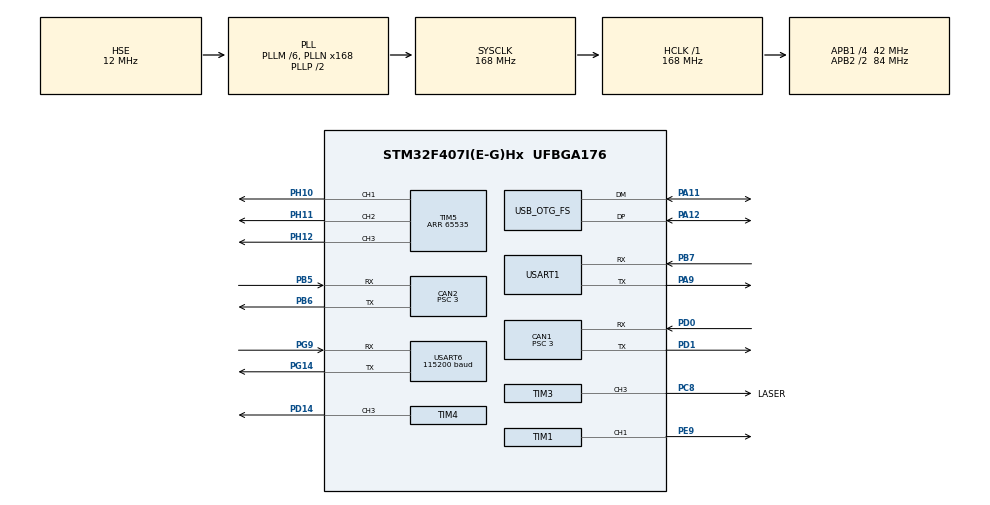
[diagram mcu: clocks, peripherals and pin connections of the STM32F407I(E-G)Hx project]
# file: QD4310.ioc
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CAN1.BS1=CAN_BS1_7TQ
CAN1.BS2=CAN_BS2_6TQ
CAN1.CalculateBaudRate=1000000
CAN1.CalculateTimeBit=1000
CAN1.CalculateTimeQuantum=71.42857142857143
CAN1.Prescaler=3
CAN1.SJW=CAN_SJW_2TQ
CAN2.BS1=CAN_BS1_7TQ
CAN2.BS2=CAN_BS2_6TQ
CAN2.CalculateBaudRate=1000000
CAN2.CalculateTimeBit=1000
CAN2.CalculateTimeQuantum=71.42857142857143
CAN2.Prescaler=3
CAN2.SJW=CAN_SJW_2TQ
Dma.Request0=USART6_RX
Dma.Request1=USART6_TX
Dma.Request2=USART1_RX
Dma.USART1_RX.2.Direction=DMA_PERIPH_TO_MEMORY
Dma.USART1_RX.2.FIFOMode=DMA_FIFOMODE_DISABLE
Dma.USART1_RX.2.Instance=DMA2_Stream2
Dma.USART1_RX.2.MemDataAlignment=DMA_MDATAALIGN_BYTE
Dma.USART1_RX.2.MemInc=DMA_MINC_ENABLE
Dma.USART1_RX.2.Mode=DMA_NORMAL
Dma.USART1_RX.2.PeriphDataAlignment=DMA_PDATAALIGN_BYTE
Dma.USART1_RX.2.PeriphInc=DMA_PINC_DISABLE
Dma.USART1_RX.2.Priority=DMA_PRIORITY_HIGH
Dma.USART6_RX.0.Direction=DMA_PERIPH_TO_MEMORY
Dma.USART6_RX.0.FIFOMode=DMA_FIFOMODE_DISABLE
Dma.USART6_RX.0.Instance=DMA2_Stream1
Dma.USART6_RX.0.MemDataAlignment=DMA_MDATAALIGN_BYTE
Dma.USART6_RX.0.MemInc=DMA_MINC_ENABLE
Dma.USART6_RX.0.Mode=DMA_CIRCULAR
Dma.USART6_RX.0.PeriphDataAlignment=DMA_PDATAALIGN_BYTE
Dma.USART6_RX.0.PeriphInc=DMA_PINC_DISABLE
Dma.USART6_RX.0.Priority=DMA_PRIORITY_VERY_HIGH
Dma.USART6_TX.1.Direction=DMA_MEMORY_TO_PERIPH
Dma.USART6_TX.1.FIFOMode=DMA_FIFOMODE_DISABLE
Dma.USART6_TX.1.Instance=DMA2_Stream6
Dma.USART6_TX.1.MemDataAlignment=DMA_MDATAALIGN_BYTE
Dma.USART6_TX.1.MemInc=DMA_MINC_ENABLE
Dma.USART6_TX.1.Mode=DMA_CIRCULAR
Dma.USART6_TX.1.PeriphDataAlignment=DMA_PDATAALIGN_BYTE
Dma.USART6_TX.1.PeriphInc=DMA_PINC_DISABLE
Dma.USART6_TX.1.Priority=DMA_PRIORITY_MEDIUM
Mcu.Family=STM32F4
Mcu.Name=STM32F407I(E-G)Hx
Mcu.Package=UFBGA176
NVIC.CAN1_RX0_IRQn=true\:1\:0\:true\:false\:true\:true\:true\:true
NVIC.CAN1_RX1_IRQn=true\:1\:0\:true\:false\:true\:true\:true\:true
NVIC.CAN1_SCE_IRQn=true\:1\:0\:true\:false\:true\:true\:true\:true
NVIC.CAN1_TX_IRQn=true\:1\:0\:true\:false\:true\:true\:true\:true
NVIC.CAN2_RX0_IRQn=true\:0\:0\:false\:false\:true\:true\:true\:true
NVIC.CAN2_RX1_IRQn=true\:0\:0\:false\:false\:true\:true\:true\:true
NVIC.CAN2_SCE_IRQn=true\:0\:0\:false\:false\:true\:true\:true\:true
NVIC.CAN2_TX_IRQn=true\:0\:0\:false\:false\:true\:true\:true\:true
NVIC.DMA2_Stream1_IRQn=true\:0\:0\:false\:false\:true\:false\:true\:true
NVIC.DMA2_Stream2_IRQn=true\:0\:0\:false\:false\:true\:false\:true\:true
NVIC.DMA2_Stream6_IRQn=true\:0\:0\:false\:false\:true\:false\:true\:true
NVIC.OTG_FS_IRQn=true\:0\:0\:false\:false\:true\:false\:true\:true
NVIC.PriorityGroup=NVIC_PRIORITYGROUP_4
NVIC.TIM1_TRG_COM_TIM11_IRQn=true\:0\:0\:false\:false\:true\:true\:true\:true
NVIC.TIM8_BRK_TIM12_IRQn=true\:6\:0\:true\:false\:true\:true\:true\:true
NVIC.USART1_IRQn=true\:4\:0\:true\:false\:true\:true\:true\:true
NVIC.USART6_IRQn=true\:2\:0\:true\:false\:true\:true\:true\:true
PA11.Mode=Device_Only
PA11.Signal=USB_OTG_FS_DM
PA12.Mode=Device_Only
PA12.Signal=USB_OTG_FS_DP
PA13.Mode=Serial_Wire
PA13.Signal=SYS_JTMS-SWDIO
PA14.Mode=Serial_Wire
PA14.Signal=SYS_JTCK-SWCLK
PA9.Mode=Asynchronous
PA9.Signal=USART1_TX
PB5.Mode=CAN_Activate
PB5.Signal=CAN2_RX
PB6.Mode=CAN_Activate
PB6.Signal=CAN2_TX
PB7.Mode=Asynchronous
PB7.Signal=USART1_RX
PC14-OSC32_IN.Mode=LSE-External-Oscillator
PC14-OSC32_IN.Signal=RCC_OSC32_IN
PC15-OSC32_OUT.Mode=LSE-External-Oscillator
PC15-OSC32_OUT.Signal=RCC_OSC32_OUT
PC8.GPIO_Label=LASER
PC8.Signal=S_TIM3_CH3
PD0.Mode=CAN_Activate
PD0.Signal=CAN1_RX
PD1.Mode=CAN_Activate
PD1.Signal=CAN1_TX
PD14.Signal=S_TIM4_CH3
PE9.Signal=S_TIM1_CH1
PG14.Mode=Asynchronous
PG14.Signal=USART6_TX
PG9.Mode=Asynchronous
PG9.Signal=USART6_RX
PH0-OSC_IN.Mode=HSE-External-Oscillator
PH0-OSC_IN.Signal=RCC_OSC_IN
PH1-OSC_OUT.Mode=HSE-External-Oscillator
PH1-OSC_OUT.Signal=RCC_OSC_OUT
PH10.Signal=S_TIM5_CH1
PH11.Signal=S_TIM5_CH2
PH12.Signal=S_TIM5_CH3
ProjectManager.HeapSize=0x200
ProjectManager.StackSize=0x400
ProjectManager.TargetToolchain=CMake
RCC.48MHZClocksFreq_Value=48000000
RCC.AHBFreq_Value=168000000
RCC.APB1CLKDivider=RCC_HCLK_DIV4
RCC.APB1Freq_Value=42000000
RCC.APB1TimFreq_Value=84000000
RCC.APB2CLKDivider=RCC_HCLK_DIV2
RCC.APB2Freq_Value=84000000
RCC.APB2TimFreq_Value=168000000
RCC.CortexFreq_Value=168000000
RCC.HCLKFreq_Value=168000000
RCC.HSE_VALUE=12000000
RCC.HSI_VALUE=16000000
RCC.PLLM=6
RCC.PLLN=168
RCC.PLLQ=7
RCC.SYSCLKFreq_VALUE=168000000
RCC.SYSCLKSource=RCC_SYSCLKSOURCE_PLLCLK
RCC.VCOOutputFreq_Value=336000000
SH.S_TIM1_CH1.0=TIM1_CH1,PWM Generation1 CH1
SH.S_TIM3_CH3.0=TIM3_CH3,PWM Generation3 CH3
SH.S_TIM4_CH3.0=TIM4_CH3,PWM Generation3 CH3
SH.S_TIM5_CH1.0=TIM5_CH1,PWM Generation1 CH1
SH.S_TIM5_CH2.0=TIM5_CH2,PWM Generation2 CH2
SH.S_TIM5_CH3.0=TIM5_CH3,PWM Generation3 CH3
TIM1.AutoReloadPreload=TIM_AUTORELOAD_PRELOAD_ENABLE
TIM1.Channel-PWM\ Generation1\ CH1=TIM_CHANNEL_1
TIM1.Period=999
TIM1.Prescaler=83
TIM11.AutoReloadPreload=TIM_AUTORELOAD_PRELOAD_ENABLE
TIM11.Prescaler=167
TIM12.AutoReloadPreload=TIM_AUTORELOAD_PRELOAD_ENABLE
TIM12.Period=9999
TIM12.Prescaler=83
TIM3.AutoReloadPreload=TIM_AUTORELOAD_PRELOAD_ENABLE
TIM3.Channel-PWM\ Generation3\ CH3=TIM_CHANNEL_3
TIM3.Period=1000-1
TIM3.Prescaler=167
TIM3.Pulse-PWM\ Generation3\ CH3=500
TIM4.Channel-PWM\ Generation3\ CH3=TIM_CHANNEL_3
TIM4.Period=20999
TIM5.Channel-PWM\ Generation1\ CH1=TIM_CHANNEL_1
TIM5.Channel-PWM\ Generation2\ CH2=TIM_CHANNEL_2
TIM5.Channel-PWM\ Generation3\ CH3=TIM_CHANNEL_3
TIM5.Period=65535
USART1.VirtualMode=VM_ASYNC
USART6.BaudRate=115200
USART6.VirtualMode=VM_ASYNC
USB_DEVICE.CLASS_NAME_FS=CDC
USB_DEVICE.VirtualMode-CDC_FS=Cdc
USB_DEVICE.VirtualModeFS=Cdc_FS
USB_OTG_FS.VirtualMode=Device_Only
VP_TIM11_VS_ClockSourceINT.Mode=Enable_Timer
VP_TIM12_VS_ClockSourceINT.Mode=Internal
VP_TIM1_VS_ClockSourceINT.Mode=Internal
VP_TIM4_VS_ClockSourceINT.Mode=Internal
VP_TIM5_VS_ClockSourceINT.Mode=Internal
VP_USB_DEVICE_VS_USB_DEVICE_CDC_FS.Mode=CDC_FS
board=custom

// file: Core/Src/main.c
/* USER CODE BEGIN Header */
/**
  ******************************************************************************
  * @file           : main.c
  * @brief          : Main program body
  ******************************************************************************
  * @attention
  *
  * Copyright (c) 2026 STMicroelectronics.
  * All rights reserved.
  *
  * This software is licensed under terms that can be found in the LICENSE file
  * in the root directory of this software component.
  * If no LICENSE file comes with this software, it is provided AS-IS.
  *
  ******************************************************************************
  */
/* USER CODE END Header */
#include "main.h"
#include "can.h"
#include "dma.h"
#include "tim.h"
#include "usart.h"
#include "usb_device.h"
#include "gpio.h"

/* USER CODE BEGIN Includes */
#include "app_QD4310_PID.h"
#include "app_usart.h"
#include "button_test.h"
#include "QD4310.h"
#include "task.h"
#include "App_roboarm/app_roboarm.h"
#include "App_Task/app_task.h"
#include "Emm_V5/Emm_V5.h"
/* USER CODE END Includes */

void SystemClock_Config(void);

int main(void)
{

  /* MCU Configuration--------------------------------------------------------*/

  /* Reset of all peripherals, Initializes the Flash interface and the Systick. */
  HAL_Init();

  /* Configure the system clock */
  SystemClock_Config();

  /* Initialize all configured peripherals */
  MX_GPIO_Init();
  MX_DMA_Init();
  MX_CAN1_Init();
  MX_USART1_UART_Init();
  MX_TIM11_Init();
  MX_USART6_UART_Init();
  MX_TIM4_Init();
  MX_TIM5_Init();
  MX_TIM12_Init();
  MX_TIM3_Init();
  MX_CAN2_Init();
  MX_USB_DEVICE_Init();
  MX_TIM1_Init();
  /* USER CODE BEGIN 2 */
  App_Task_Init();
  //Delay_Test();GetUs也能正常用
  //Button_Test();按键也能正常用（没测试长按）
  //Buzzer_Test();蜂鸣器是可以响的！
  //机械臂的角度，和电机旋转角度的比是4.5:1
  //Robo_Set_YawDeg(-3);
  //Emm_V5_SetPositionRad(1, -3.1415926f, 200);

  /* USER CODE END 2 */

  /* Infinite loop */
  /* USER CODE BEGIN WHILE */
    while (1) {

    PERIODIC_START(MAIN,10)

      //Emm_V5_RequestPosition(1);
      //App_USART6_Printf("%f\n",Emm_V5_Position.angle_deg);
      Set_Big_Rad(0);
      Set_Small_Rad(0.6);
      App_USART6_Printf("%f,%f\n",SmallMotor.angle,BigMotor.angle);
    PERIODIC_END
    /* USER CODE END WHILE */

  }
}

void SystemClock_Config(void)
{
  RCC_OscInitTypeDef RCC_OscInitStruct = {0};
  RCC_ClkInitTypeDef RCC_ClkInitStruct = {0};

  /** Configure the main internal regulator output voltage
  */
  __HAL_RCC_PWR_CLK_ENABLE();
  __HAL_PWR_VOLTAGESCALING_CONFIG(PWR_REGULATOR_VOLTAGE_SCALE1);

  /** Initializes the RCC Oscillators according to the specified parameters
  * in the RCC_OscInitTypeDef structure.
  */
  RCC_OscInitStruct.OscillatorType = RCC_OSCILLATORTYPE_HSE;
  RCC_OscInitStruct.HSEState = RCC_HSE_ON;
  RCC_OscInitStruct.PLL.PLLState = RCC_PLL_ON;
  RCC_OscInitStruct.PLL.PLLSource = RCC_PLLSOURCE_HSE;
  RCC_OscInitStruct.PLL.PLLM = 6;
  RCC_OscInitStruct.PLL.PLLN = 168;
  RCC_OscInitStruct.PLL.PLLP = RCC_PLLP_DIV2;
  RCC_OscInitStruct.PLL.PLLQ = 7;
  if (HAL_RCC_OscConfig(&RCC_OscInitStruct) != HAL_OK)
  {
    Error_Handler();
  }

  /** Initializes the CPU, AHB and APB buses clocks
  */
  RCC_ClkInitStruct.ClockType = RCC_CLOCKTYPE_HCLK|RCC_CLOCKTYPE_SYSCLK
                              |RCC_CLOCKTYPE_PCLK1|RCC_CLOCKTYPE_PCLK2;
  RCC_ClkInitStruct.SYSCLKSource = RCC_SYSCLKSOURCE_PLLCLK;
  RCC_ClkInitStruct.AHBCLKDivider = RCC_SYSCLK_DIV1;
  RCC_ClkInitStruct.APB1CLKDivider = RCC_HCLK_DIV4;
  RCC_ClkInitStruct.APB2CLKDivider = RCC_HCLK_DIV2;

  if (HAL_RCC_ClockConfig(&RCC_ClkInitStruct, FLASH_LATENCY_5) != HAL_OK)
  {
    Error_Handler();
  }
}

/* USER CODE BEGIN 4 */

//初始化CAN配置
void CAN_InterfaceInit() {
    //CAN滤波器配置
    CAN_FilterTypeDef sFilterConfig;
    sFilterConfig.FilterBank = 0;
    sFilterConfig.FilterMode = CAN_FILTERMODE_IDMASK;
    sFilterConfig.FilterScale = CAN_FILTERSCALE_32BIT;
    sFilterConfig.FilterIdLow = 0x0000;
    sFilterConfig.FilterIdHigh = 0x0000;
    sFilterConfig.FilterMaskIdLow = 0x0000;
    sFilterConfig.FilterMaskIdHigh = 0x0000;
    sFilterConfig.FilterFIFOAssignment = CAN_RX_FIFO0;
    sFilterConfig.FilterActivation = ENABLE;
    sFilterConfig.SlaveStartFilterBank = 14;
    //这里已经开启了滤波器配置
    if (HAL_CAN_ConfigFilter(&hcan1, &sFilterConfig) != HAL_OK) Error_Handler();
    //这里已经开启了CAN
    if (HAL_CAN_Start(&hcan1) != HAL_OK) Error_Handler();
    //这里已经开启了CAN的接收中断
    if (HAL_CAN_ActivateNotification(&hcan1, CAN_IT_RX_FIFO0_MSG_PENDING) != HAL_OK) Error_Handler();

    //CAN滤波器配置
    CAN_FilterTypeDef sFilterConfig2;
    sFilterConfig2.FilterBank = 14;
    sFilterConfig2.FilterMode = CAN_FILTERMODE_IDMASK;
    sFilterConfig2.FilterScale = CAN_FILTERSCALE_32BIT;
    sFilterConfig2.FilterIdLow = 0x0000;
    sFilterConfig2.FilterIdHigh = 0x0000;
    sFilterConfig2.FilterMaskIdLow = 0x0000;
    sFilterConfig2.FilterMaskIdHigh = 0x0000;
    sFilterConfig2.FilterFIFOAssignment = CAN_RX_FIFO0;
    sFilterConfig2.FilterActivation = ENABLE;
    sFilterConfig2.SlaveStartFilterBank = 14;
    //这里已经开启了滤波器配置
    if (HAL_CAN_ConfigFilter(&hcan2, &sFilterConfig2) != HAL_OK) Error_Handler();
    //这里已经开启了CAN
    if (HAL_CAN_Start(&hcan2) != HAL_OK) Error_Handler();
    //这里已经开启了CAN的接收中断
    if (HAL_CAN_ActivateNotification(&hcan2, CAN_IT_RX_FIFO0_MSG_PENDING) != HAL_OK) Error_Handler();
}
//CAN接收回调函数
//CAN接收回调函数
void HAL_CAN_RxFifo0MsgPendingCallback(CAN_HandleTypeDef *hcan) {
  // 统一在最上面定义，数组大小必须是 8！
  CAN_RxHeaderTypeDef rx_header;
  uint8_t rx_data[8];

  if (HAL_CAN_GetRxMessage(hcan, CAN_RX_FIFO0, &rx_header, rx_data) != HAL_OK) {
    return;
  }

  // CAN1 处理 QD4310
  if (hcan == &hcan1) {
    // 确认是正确的ID
    if (rx_header.IDE == CAN_ID_STD) {
      if (rx_header.StdId >= 0x500 && rx_header.StdId <= 0x508) {
        if (rx_header.StdId == 0x500) {
          QD4310_Update(&SmallMotor, rx_data); // 更新云台yaw轴的状态
        } else if (rx_header.StdId == 0x501) {
          QD4310_Update(&BigMotor, rx_data); // 更新云台pitch轴的状态
        }
      }
    }
  }

  else if (hcan == &hcan2) {
    if (rx_header.IDE == CAN_ID_EXT) {
      Emm_V5_UpdatePosition(1, rx_header.ExtId, rx_data, rx_header.DLC);
    }
  }
}
/* USER CODE END 4 */

void Error_Handler(void)
{
  __disable_irq();
  while (1)
  {
  }
}
